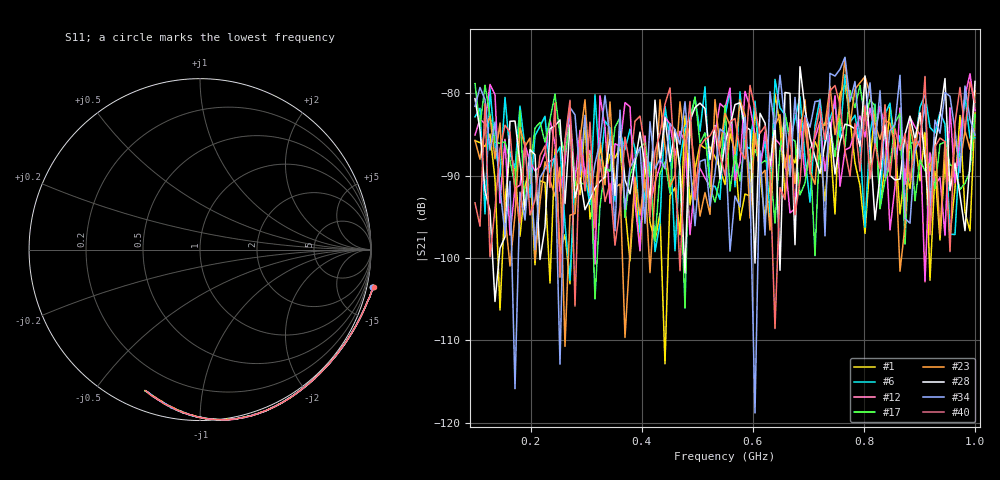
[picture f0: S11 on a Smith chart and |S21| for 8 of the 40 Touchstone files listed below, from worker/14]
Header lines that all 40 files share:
# HZ S RI R 50
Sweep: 100 MHz to 1 GHz
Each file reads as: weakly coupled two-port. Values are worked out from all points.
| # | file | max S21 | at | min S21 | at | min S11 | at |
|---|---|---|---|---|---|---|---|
| 1 | 20201206_164623.s2p | -78.86 dB | 766 MHz | -112.8 dB | 442 MHz | -1.1 dB | 1 GHz |
| 2 | 20201206_164625.s2p | -77.52 dB | 820 MHz | -106.4 dB | 955 MHz | -1.0 dB | 1 GHz |
| 3 | 20201206_164626.s2p | -74.45 dB | 496 MHz | -106.2 dB | 298 MHz | -1.0 dB | 1 GHz |
| 4 | 20201206_164627.s2p | -78.53 dB | 775 MHz | -107.1 dB | 343 MHz | -1.0 dB | 1 GHz |
| 5 | 20201206_164628.s2p | -79.27 dB | 352 MHz | -119.1 dB | 910 MHz | -1.1 dB | 1 GHz |
| 6 | 20201206_164629.s2p | -77.77 dB | 766 MHz | -102.7 dB | 271 MHz | -1.1 dB | 1 GHz |
| 7 | 20201206_164631.s2p | -77.39 dB | 496 MHz | -106.6 dB | 226 MHz | -1.1 dB | 1 GHz |
| 8 | 20201206_164632.s2p | -76.50 dB | 613 MHz | -108.6 dB | 865 MHz | -1.0 dB | 1 GHz |
| 9 | 20201206_164633.s2p | -76.94 dB | 730 MHz | -112.0 dB | 253 MHz | -1.1 dB | 1 GHz |
| 10 | 20201206_164634.s2p | -76.69 dB | 703 MHz | -109.8 dB | 262 MHz | -1.1 dB | 1 GHz |
| 11 | 20201206_164636.s2p | -76.52 dB | 847 MHz | -116.3 dB | 118 MHz | -1.1 dB | 1 GHz |
| 12 | 20201206_164637.s2p | -77.65 dB | 991 MHz | -102.9 dB | 910 MHz | -1.0 dB | 1 GHz |
| 13 | 20201206_164638.s2p | -76.66 dB | 847 MHz | -110.1 dB | 982 MHz | -1.1 dB | 1 GHz |
| 14 | 20201206_164639.s2p | -78.03 dB | 559 MHz | -105.0 dB | 541 MHz | -1.1 dB | 1 GHz |
| 15 | 20201206_164640.s2p | -77.60 dB | 739 MHz | -111.3 dB | 226 MHz | -1.1 dB | 1 GHz |
| 16 | 20201206_164642.s2p | -75.46 dB | 667 MHz | -104.9 dB | 514 MHz | -1.1 dB | 1 GHz |
| 17 | 20201206_164643.s2p | -78.85 dB | 100 MHz | -106.1 dB | 478 MHz | -1.0 dB | 1 GHz |
| 18 | 20201206_164644.s2p | -76.76 dB | 766 MHz | -100.9 dB | 244 MHz | -1.1 dB | 1 GHz |
| 19 | 20201206_164645.s2p | -77.50 dB | 739 MHz | -100.6 dB | 325 MHz | -1.1 dB | 1 GHz |
| 20 | 20201206_164647.s2p | -77.90 dB | 811 MHz | -111.1 dB | 325 MHz | -1.1 dB | 1 GHz |
| 21 | 20201206_164648.s2p | -76.68 dB | 766 MHz | -106.4 dB | 298 MHz | -1.1 dB | 1 GHz |
| 22 | 20201206_164649.s2p | -76.83 dB | 496 MHz | -105.1 dB | 307 MHz | -1.1 dB | 1 GHz |
| 23 | 20201206_164650.s2p | -75.75 dB | 766 MHz | -110.7 dB | 262 MHz | -1.1 dB | 1 GHz |
| 24 | 20201206_164651.s2p | -77.55 dB | 748 MHz | -100.6 dB | 136 MHz | -1.1 dB | 1 GHz |
| 25 | 20201206_164653.s2p | -77.09 dB | 847 MHz | -109.8 dB | 352 MHz | -1.0 dB | 1 GHz |
| 26 | 20201206_164654.s2p | -73.33 dB | 793 MHz | -102.6 dB | 469 MHz | -1.0 dB | 1 GHz |
| 27 | 20201206_164655.s2p | -77.64 dB | 784 MHz | -116.9 dB | 343 MHz | -1.1 dB | 1 GHz |
| 28 | 20201206_164656.s2p | -76.80 dB | 685 MHz | -105.3 dB | 136 MHz | -1.1 dB | 1 GHz |
| 29 | 20201206_164657.s2p | -77.37 dB | 721 MHz | -101.5 dB | 208 MHz | -1.0 dB | 1 GHz |
| 30 | 20201206_164659.s2p | -77.29 dB | 982 MHz | -106.0 dB | 568 MHz | -1.0 dB | 1 GHz |
| 31 | 20201206_164700.s2p | -76.54 dB | 793 MHz | -111.7 dB | 613 MHz | -1.0 dB | 1 GHz |
| 32 | 20201206_164701.s2p | -77.58 dB | 811 MHz | -102.4 dB | 973 MHz | -1.1 dB | 1 GHz |
| 33 | 20201206_164702.s2p | -76.85 dB | 775 MHz | -113.5 dB | 973 MHz | -1.1 dB | 1 GHz |
| 34 | 20201206_164704.s2p | -75.66 dB | 766 MHz | -118.8 dB | 604 MHz | -1.0 dB | 1 GHz |
| 35 | 20201206_164705.s2p | -78.06 dB | 757 MHz | -108.9 dB | 541 MHz | -1.1 dB | 1 GHz |
| 36 | 20201206_164706.s2p | -76.18 dB | 487 MHz | -101.4 dB | 829 MHz | -1.1 dB | 1 GHz |
| 37 | 20201206_164707.s2p | -78.18 dB | 685 MHz | -99.3 dB | 163 MHz | -1.1 dB | 1 GHz |
| 38 | 20201206_164708.s2p | -77.43 dB | 712 MHz | -102.6 dB | 604 MHz | -1.1 dB | 1 GHz |
| 39 | 20201206_164710.s2p | -78.12 dB | 829 MHz | -106.4 dB | 613 MHz | -1.1 dB | 1 GHz |
| 40 | 20201206_164711.s2p | -77.99 dB | 910 MHz | -108.5 dB | 640 MHz | -1.1 dB | 1 GHz |
